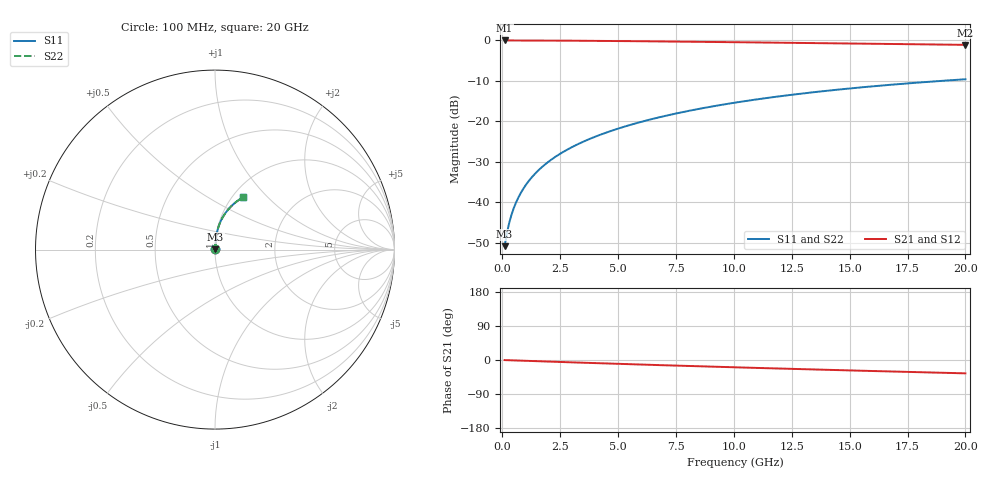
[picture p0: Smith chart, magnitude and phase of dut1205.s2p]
! Touchstone file exported from HFSS 2024.1.0
!  File:  C:/UserFiles/LocalFiles/RDL_TSV_Batchsim/temp_RDL_bottom_1205_1780243468.aedt
!  Generated:  12:07:00 AM Jun  1, 2026
!  Design:  RDL_bottom
!  Project:  temp_RDL_bottom_1205_1780243468
!  Setup:  Setup1
!  Solution:  Sweep
! Variables:
!  dtsv = 10.80580581um
!  hbump = 3um
!  htsv = 98.03um
!  ldown = 487um
!  lrdl = 100um
!  p = 40
!  p1 = 49.58um
!  rhole = 1um
!  t = 450um
!  tdown = 3.78um
!  trdl = 3.915915916um
!  wdown = 21.55um
!  wrdl = 20um
# GHz S MA R 50.000000
! Terminal data exported
! Port[1] = RDL1_T1
! Port[2] = RDL1_T2
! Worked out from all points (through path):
!   200 points, 100 MHz to 20 GHz, reference 50 ohm
!   highest |S21| = -0.02 dB at 100 MHz (marker M1); lowest = -1.1 dB at 20 GHz (marker M2)
!   group delay of S21, straight-line fit = 4.85 ps
!   lowest |S11| = -50.8 dB at 100 MHz (marker M3), VSWR 1.01, Z = 50.2 + j0.175 ohm
!   |S11| at or under -10 dB: start of sweep to 18.95 GHz
!   |S22| runs from -50.8 to -9.6 dB; largest |S21 - S12| = 4e-15
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0.1  0.002889 37.0  0.9977 -0.2  0.9977 -0.2  0.002889 37.0
! Gamma 0 0 0 0
! Port Impedance 50 0 50 0
0.2  0.004185 54.6  0.9976 -0.4  0.9976 -0.4  0.004185 54.6
0.3  0.005628 63.2  0.9974 -0.6  0.9974 -0.6  0.005628 63.2
0.4  0.007102 68.2  0.9973 -0.9  0.9973 -0.9  0.007102 68.2
0.5  0.008589 71.5  0.9971 -1.1  0.9971 -1.1  0.008589 71.5
0.6  0.01009 74.0  0.997 -1.3  0.997 -1.3  0.01009 74.0
0.8  0.01312 77.3  0.9967 -1.7  0.9967 -1.7  0.01312 77.3
1.1  0.01774 80.2  0.9963 -2.3  0.9963 -2.3  0.01774 80.2
1.3  0.02086 81.5  0.9959 -2.7  0.9959 -2.7  0.02086 81.5
1.6  0.02557 82.7  0.9953 -3.3  0.9953 -3.3  0.02557 82.7
2.1  0.03351 83.9  0.994 -4.4  0.994 -4.4  0.03351 83.9
2.7  0.04317 84.6  0.992 -5.6  0.992 -5.6  0.04317 84.5
3.5  0.05628 84.8  0.9888 -7.2  0.9888 -7.2  0.05627 84.8
4.2  0.06796 84.6  0.9855 -8.6  0.9855 -8.6  0.06795 84.6
5  0.08154 84.2  0.9814 -10.1  0.9814 -10.1  0.08153 84.1
6.8  0.1129 82.4  0.9708 -13.5  0.9708 -13.5  0.1128 82.4
8.4  0.1412 80.4  0.9605 -16.4  0.9605 -16.4  0.1411 80.3
10.1  0.1714 77.8  0.9493 -19.4  0.9493 -19.4  0.1713 77.8
11.7  0.1994 75.3  0.9384 -22.1  0.9384 -22.1  0.1993 75.2
13.4  0.2285 72.5  0.9267 -24.9  0.9267 -24.9  0.2284 72.4
16.7  0.2822 67.0  0.9037 -30.2  0.9037 -30.2  0.282 67.0
20  0.3313 61.7  0.8805 -35.2  0.8805 -35.2  0.331 61.7
